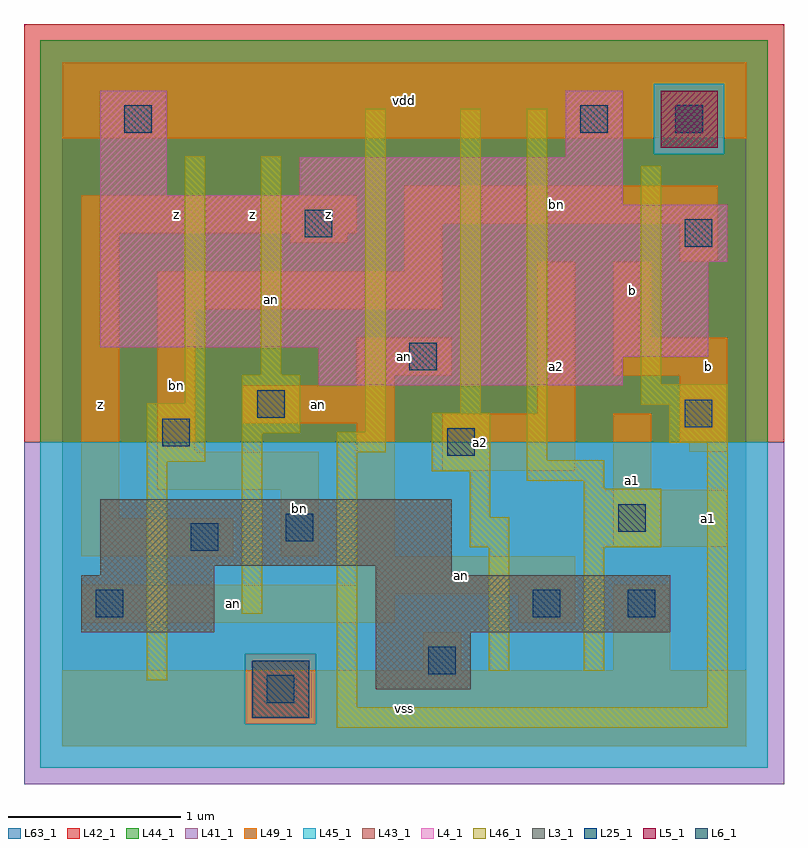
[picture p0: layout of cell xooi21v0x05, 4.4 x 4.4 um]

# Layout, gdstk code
import gdstk
lib = gdstk.Library(unit=1e-6, precision=1e-09)
def R(c, l, rs):  # rectangles x0, y0, x1, y1
    for r in rs: c.add(gdstk.rectangle(r[:2], r[2:], *l))
L3_1 = (3, 1)
L4_1 = (4, 1)
L5_1 = (5, 1)
L6_1 = (6, 1)
L25_1 = (25, 1)
L41_1 = (41, 1)
L42_1 = (42, 1)
L43_1 = (43, 1)
L44_1 = (44, 1)
L45_1 = (45, 1)
L46_1 = (46, 1)
L49_1 = (49, 1)
L63_1 = (63, 1)

xooi21v0x05 = lib.new_cell('xooi21v0x05')
R(xooi21v0x05, L3_1, [(1.815,0.33,2.365,0.66), (0.11,0.66,0.88,0.99), (1.815,0.66,3.52,0.99), (0.22,0.99,0.88,1.045), (1.815,0.99,2.255,1.045), (0.22,1.045,2.255,1.43)])
R(xooi21v0x05, L4_1, [(1.485,2.09,3.245,2.255), (1.485,2.255,3.74,2.31), (0.22,2.31,3.74,2.805), (0.22,2.805,3.85,3.135), (0.22,3.135,3.245,3.19), (0.22,3.19,0.605,3.795), (1.375,3.19,3.245,3.41), (2.915,3.41,3.245,3.795)])
R(xooi21v0x05, L5_1, [(3.465,3.465,3.795,3.795)])
R(xooi21v0x05, L6_1, [(1.1,0.165,1.43,0.495)])
R(xooi21v0x05, L25_1, [(1.185,0.25,1.345,0.41), (2.12,0.415,2.28,0.575), (0.195,0.745,0.355,0.905), (2.725,0.745,2.885,0.905), (3.275,0.745,3.435,0.905), (0.745,1.13,0.905,1.29), (1.295,1.185,1.455,1.345), (3.22,1.24,3.38,1.4), (2.23,1.68,2.39,1.84), (0.58,1.735,0.74,1.895), (3.605,1.845,3.765,2.005), (1.13,1.9,1.29,2.06), (2.01,2.175,2.17,2.335), (3.605,2.89,3.765,3.05), (1.405,2.945,1.565,3.105), (0.36,3.55,0.52,3.71), (3,3.55,3.16,3.71), (3.55,3.55,3.71,3.71)])
R(xooi21v0x05, L41_1, [(-0.22,-0.22,4.18,1.76)])
R(xooi21v0x05, L42_1, [(-0.22,1.76,4.18,4.18)])
R(xooi21v0x05, L43_1, [(1.1,0.165,1.43,0.495), (1.815,0.33,2.365,0.66), (0.11,0.66,0.88,0.99), (1.815,0.66,3.52,0.99), (0.22,0.99,0.88,1.045), (1.815,0.99,2.255,1.045), (0.22,1.045,2.255,1.43), (1.485,2.09,3.245,2.255), (1.485,2.255,3.74,2.31), (0.22,2.31,3.74,2.805), (0.22,2.805,3.85,3.135), (0.22,3.135,3.245,3.19), (0.22,3.19,0.605,3.795), (1.375,3.19,3.245,3.41), (2.915,3.41,3.245,3.795), (3.465,3.465,3.795,3.795)])
R(xooi21v0x05, L44_1, [(1.06,0.125,1.47,0.535), (-0.125,1.76,4.085,3.425), (-0.125,3.425,3.425,3.835), (3.835,3.425,4.085,3.835), (-0.125,3.835,4.085,4.085)])
R(xooi21v0x05, L45_1, [(-0.125,-0.125,4.085,0.125), (-0.125,0.125,1.06,0.535), (1.47,0.125,4.085,0.535), (-0.125,0.535,4.085,1.76), (3.425,3.425,3.835,3.835)])
R(xooi21v0x05, L46_1, [(1.59,0.105,3.855,0.225), (1.59,0.225,1.71,1.7), (3.735,0.225,3.855,1.755), (0.49,0.38,0.61,1.645), (2.47,0.435,2.59,1.15), (3.02,0.435,3.14,1.15), (1.04,0.765,1.16,1.81), (2.36,1.15,2.59,1.325), (3.02,1.15,3.47,1.49), (2.36,1.325,2.48,1.59), (3.02,1.49,3.14,1.535), (2.69,1.535,3.14,1.655), (2.14,1.59,2.48,1.93), (0.49,1.645,0.83,1.985), (2.69,1.655,2.81,3.69), (1.59,1.7,1.875,1.82), (3.515,1.755,3.855,1.975), (1.04,1.81,1.38,2.15), (1.755,1.82,1.875,3.69), (2.305,1.93,2.425,3.69), (3.35,1.975,3.855,2.095), (0.71,1.985,0.83,3.415), (3.35,2.095,3.47,3.36), (1.15,2.15,1.27,3.415)])
R(xooi21v0x05, L49_1, [(0,0,3.96,0.44), (2.09,0.44,2.31,0.66), (3.19,0.44,3.52,0.935), (0.11,0.715,1.925,0.88), (2.64,0.715,2.97,0.88), (0.11,0.88,2.97,0.935), (1.705,0.935,2.97,1.1), (0.11,1.1,0.99,1.32), (1.265,1.1,1.485,1.485), (1.705,1.1,1.925,1.87), (3.19,1.155,3.85,1.485), (0.11,1.32,0.33,2.97), (0.55,1.485,1.485,1.705), (3.19,1.485,3.41,1.925), (2.2,1.595,2.97,1.925), (0.55,1.705,0.77,2.53), (3.63,1.705,3.85,1.76), (3.575,1.76,3.85,2.145), (1.045,1.87,1.925,2.09), (2.75,1.925,2.97,2.805), (1.705,2.09,1.925,2.145), (1.705,2.145,2.255,2.365), (3.19,2.145,3.85,2.365), (3.19,2.365,3.41,2.805), (0.55,2.53,2.2,2.75), (1.98,2.75,2.2,3.025), (3.575,2.805,3.795,3.025), (1.32,2.915,1.65,2.97), (0.11,2.97,1.705,3.19), (1.98,3.025,3.795,3.245), (0,3.52,3.96,3.96)])
R(xooi21v0x05, L63_1, [(0,0,3.96,3.96)])
xooi21v0x05.add(gdstk.Label('an', (1.21,2.585), layer=46, texttype=1))
xooi21v0x05.add(gdstk.Label('z', (0.22,1.98), layer=49, texttype=1))
xooi21v0x05.add(gdstk.Label('bn', (0.66,2.09), layer=49, texttype=1))
xooi21v0x05.add(gdstk.Label('z', (0.66,3.08), layer=49, texttype=1))
xooi21v0x05.add(gdstk.Label('an', (0.99,0.825), layer=49, texttype=1))
xooi21v0x05.add(gdstk.Label('bn', (1.375,1.375), layer=49, texttype=1))
xooi21v0x05.add(gdstk.Label('an', (1.485,1.98), layer=49, texttype=1))
xooi21v0x05.add(gdstk.Label('z', (1.54,3.08), layer=49, texttype=1))
xooi21v0x05.add(gdstk.Label('z', (1.1,3.08), layer=49, texttype=1))
xooi21v0x05.add(gdstk.Label('vss', (1.98,0.22), layer=49, texttype=1))
xooi21v0x05.add(gdstk.Label('an', (2.31,0.99), layer=49, texttype=1))
xooi21v0x05.add(gdstk.Label('a2', (2.42,1.76), layer=49, texttype=1))
xooi21v0x05.add(gdstk.Label('a2', (2.86,2.2), layer=49, texttype=1))
xooi21v0x05.add(gdstk.Label('an', (1.98,2.255), layer=49, texttype=1))
xooi21v0x05.add(gdstk.Label('vdd', (1.98,3.74), layer=49, texttype=1))
xooi21v0x05.add(gdstk.Label('a1', (3.3,1.54), layer=49, texttype=1))
xooi21v0x05.add(gdstk.Label('a1', (3.74,1.32), layer=49, texttype=1))
xooi21v0x05.add(gdstk.Label('b', (3.74,2.2), layer=49, texttype=1))
xooi21v0x05.add(gdstk.Label('b', (3.3,2.64), layer=49, texttype=1))
xooi21v0x05.add(gdstk.Label('bn', (2.86,3.135), layer=49, texttype=1))

lib.write_gds('xooi21v0x05.gds')
